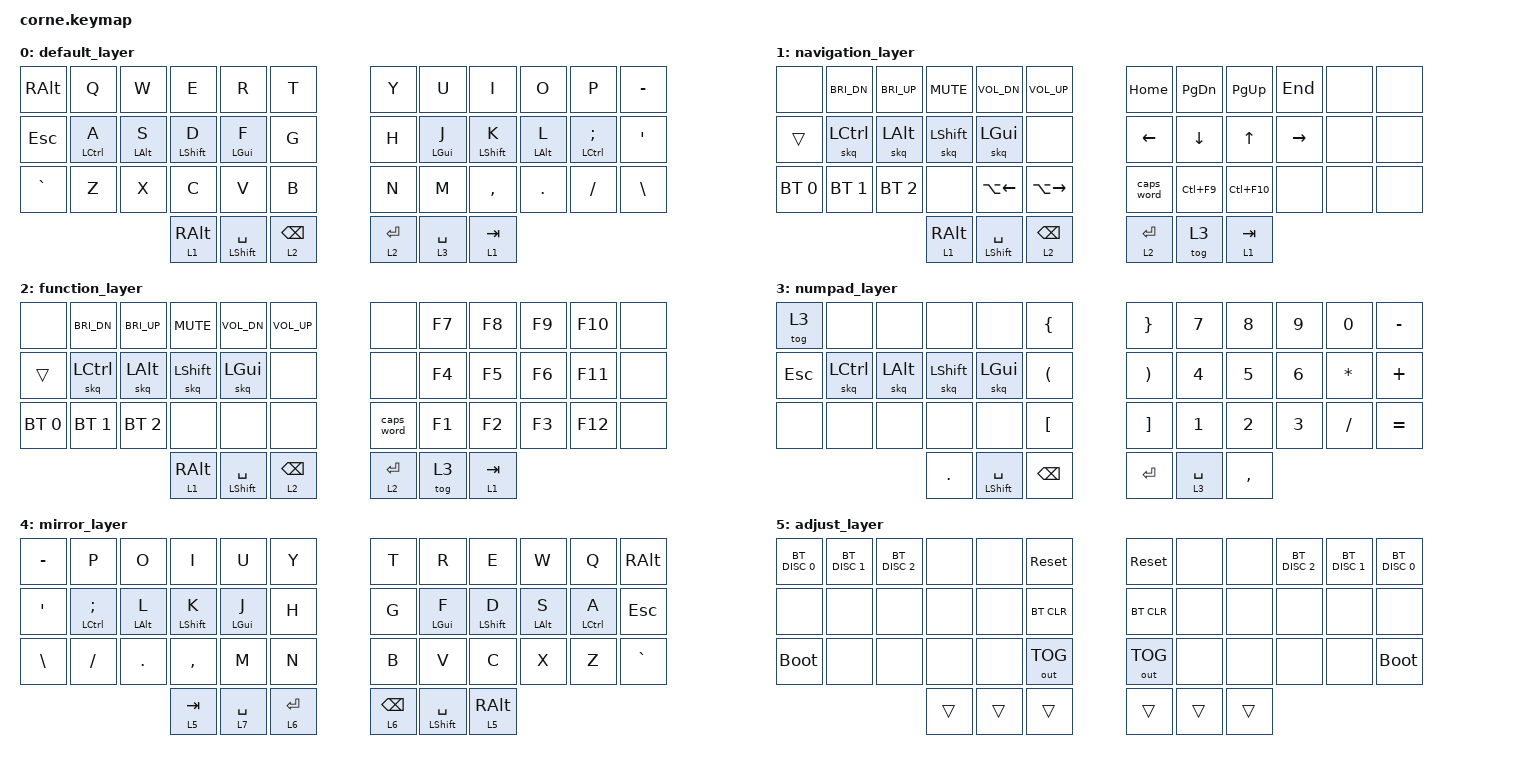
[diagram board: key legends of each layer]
/*
 * Copyright (c) 2020 The ZMK Contributors
 *
 * SPDX-License-Identifier: MIT
 */

#include <behaviors.dtsi>
#include <dt-bindings/zmk/keys.h>
#include <dt-bindings/zmk/bt.h>
#include <dt-bindings/zmk/outputs.h>

#define BBACK LA(LEFT)
#define BFORW LA(RIGHT)
#define WCURR LC(F9)  //WINL LS(LG(TAB))
#define WALL LC(F10)  //WINR LG(TAB)
//#define VDISP LG(F8)

&mt {
	tapping-term-ms = <150>;
};
        

/ {
    	conditional_layers {
        	compatible = "zmk,conditional-layers";
        	tri_layer_1 {
            		if-layers = <1 2>;
            		then-layer = <4>;
        	};
//		tri_layer_2 {
//			if-layers = <5 6>;
//			then-layer = <8>;
//		};
	};


	behaviors {
		lhm: left_homerow_mods {
			compatible = "zmk,behavior-hold-tap";
			#binding-cells = <2>;
			tapping-term-ms = <280>;
			quick-tap-ms = <175>;
			require-prior-idle-ms = <110>;
			flavor = "balanced";
			bindings = <&kp>, <&kp>;
			hold-trigger-key-positions = <6 7 8 9 10 11 18 19 20 21 22 23 30 31 32 33 34 35>;
			hold-trigger-on-release;
		};

		rhm: right_homerow_mods {
			compatible = "zmk,behavior-hold-tap";
			#binding-cells = <2>;
			tapping-term-ms = <280>;
			quick-tap-ms = <175>;
			require-prior-idle-ms = <110>;
			flavor = "balanced";
			bindings = <&kp>, <&kp>;
			hold-trigger-key-positions = <0 1 2 3 4 5 12 13 14 15 16 17 24 25 26 27 28 29>;
			hold-trigger-on-release;
		};

		llt: left_layer_tap {
			compatible = "zmk,behavior-hold-tap";
			#binding-cells = <2>;
			tapping-term-ms = <200>;
			quick-tap-ms = <200>;
			require-prior-idle-ms = <100>;
			flavor = "balanced";
			bindings = <&mo>, <&kp>;
//			hold-trigger-key-positions = <6 7 8 9 10 11 18 23 30 31 32 33 34 35>;
//			hold-trigger-on-release;
		};

		rlt: right_layer_tap {
			compatible = "zmk,behavior-hold-tap";
			#binding-cells = <2>;
			tapping-term-ms = <200>;
			quick-tap-ms = <200>;
			require-prior-idle-ms = <100>;
			flavor = "balanced";
			bindings = <&mo>, <&kp>;
//			hold-trigger-key-positions = <0 1 2 3 4 5 12 17 24 25 26 27 28 29>;
//			hold-trigger-on-release;
		};
		     
		skq: sticky_keys_quick_release {
			compatible = "zmk,behavior-sticky-key";
			#binding-cells = <1>;
			bindings = <&kp>;
			release-after-ms = <2000>;
			quick-release;
			ignore-modifiers;
		};

//		tdtab: tap_dance_tab_mirror {
//			compatible = "zmk,behavior-tap-dance";
//			#binding-cells = <0>;
//			tapping-term-ms = <175>;
//			bindings = <&kp TAB>, <&tog 4>;
//		};
//		
// 		tdmin: tap_dance_minus_mirror {
//			compatible = "zmk,behavior-tap-dance";
//			#binding-cells = <0>;
//			tapping-term-ms = <175>;
//			bindings = <&kp MINUS>, <&tog 4>;
//		};

	};

	keymap {
                compatible = "zmk,keymap";

                default_layer {
// -----------------------------------------------------------------------------------------
// |RALT |  Q  |  W  |  E  |  R  |  T  |   |  Y  |  U  |  I  |  O  |  P  |  -  |
// | ESC | C_A | A_S | S_D | G_F |  G  |   |  H  | G_J | S_K | A_L | C_; |  '  |
// |  `  |  Z  |  X  |  C  |  V  |  B  |   |  N  |  M  |  ,  |  .  |  /  |  \  |
//                   | RALT| SFT | BSPC|   | ENT | SPC | TAB |


                        bindings = <
   &kp RALT  &kp Q        &kp W       &kp E         &kp R         &kp T       &kp Y      &kp U       &kp I        &kp O       &kp P           &kp MINUS
   &kp ESC   &lhm LCTRL A &lhm LALT S &lhm LSHFT D  &lhm LGUI F   &kp G       &kp H      &rhm LGUI J &rhm LSHFT K &rhm LALT L &rhm LCTRL SEMI &kp SQT
   &kp GRAVE &kp Z        &kp X       &kp C         &kp V         &kp B       &kp N      &kp M       &kp COMMA    &kp DOT     &kp FSLH        &kp BSLH
                                      &llt 1 RALT   &mt LSHFT SPC &llt 2 BSPC &rlt 2 RET &rlt 3 SPC  &rlt 1 TAB
                        >;
                };
                navigation_layer {
// -----------------------------------------------------------------------------------------
// |      | BRID | BRIU | MUTE | VOLD | VOLU |   | HOME | PG_DN | PG_UP | END   |  |  |
// | ESC  | CTRL | ALT  | SHFT | GUI  |      |   | LEFT | DOWN  |  UP   | RIGHT |  |  |
// | BT1  | BT2  | BT3  |      | BACK | FORW |   | CWRD | WCURR | WALL  |       |  |  |
//                      | RALT | SHFT | BSPC |   | ENT  | NUM   | TAB   |

                        bindings = <
   &none        &kp C_BRI_DN &kp C_BRI_UP &kp C_MUTE  &kp C_VOL_DN  &kp C_VOL_UP &kp HOME   &kp PG_DN &kp PG_UP &kp END   &none &none
   &trans       &skq LCTRL   &skq LALT    &skq LSHFT  &skq LGUI     &none        &kp LEFT   &kp DOWN  &kp UP    &kp RIGHT &none &none
   &bt BT_SEL 0 &bt BT_SEL 1 &bt BT_SEL 2 &none       &kp BBACK     &kp BFORW    &caps_word &kp WCURR &kp WALL  &none     &none &none
                          	          &llt 1 RALT &mt LSHFT SPC &llt 2 BSPC  &rlt 2 RET &tog 3    &rlt 1 TAB
                        >;
                };
                function_layer {
// -----------------------------------------------------------------------------------------
// |     | BRID | BRIU | MUTE | VOLD | VOLU |   |      | F7  | F8  | F9 | F10 |  |
// | ESC | CTRL | ALT  | SHFT | GUI  |      |   |      | F4  | F5  | F6 | F11 |  |
// | BT1 | BT2  | BT3  |      |      |      |   | CWRD | F1  | F2  | F3 | F12 |  |
//                     | RALT | SHFT | BSPC |   | ENT  | NUM | TAB |

                        bindings = <
   &none        &kp C_BRI_DN &kp C_BRI_UP &kp C_MUTE  &kp C_VOL_DN  &kp C_VOL_UP &none      &kp F7 &kp F8    &kp F9 &kp F10 &none
   &trans       &skq LCTRL   &skq LALT    &skq LSHFT  &skq LGUI     &none        &none      &kp F4 &kp F5    &kp F6 &kp F11 &none
   &bt BT_SEL 0 &bt BT_SEL 1 &bt BT_SEL 2 &none       &none         &none        &caps_word &kp F1 &kp F2    &kp F3 &kp F12 &none
                    	                  &llt 1 RALT &mt LSHFT SPC &llt 2 BSPC  &rlt 2 RET &tog 3 &rlt 1 TAB
                        >;
                };
		numpad_layer {
// -----------------------------------------------------------------------------------------
//  | NUM |     |     |     |      | LBRC|   | RBRC|  7  |  8  |  9  | 0 | - |
//  | ESC | CTRL| ALT | SHFT| GUI  | LPAR|   | RPAR|  4  |  5  |  6  | * | + |
//  |     |     |     |     |      | LBKT|   | RBKT|  1  |  2  |  3  | / | = |
//                    |  .  | SHFT | BSPC|   | ENT |     |  ,  |

			bindings = <
    &tog 3  &none      &none     &none      &none         &kp LBRC &kp RBRC &kp N7     &kp N8   &kp N9 &kp N0       &kp MINUS
    &kp ESC &skq LCTRL &skq LALT &skq LSHFT &skq LGUI     &kp LPAR &kp RPAR &kp N4     &kp N5   &kp N6 &kp ASTERISK &kp PLUS
    &none   &none      &none     &none      &none         &kp LBKT &kp RBKT &kp N1     &kp N2   &kp N3 &kp FSLH     &kp EQUAL
                                 &kp DOT    &mt LSHFT SPC &kp BSPC &kp RET  &rlt 3 SPC &kp COMMA    
			>;
		};
		mirror_layer {
// -----------------------------------------------------------------------------------------
//  | - | P | O | I   | U   | Y   |   | T    | R   | E    | W | Q | TAB |
//  | ' | ; | L | K   | J   | H   |   | G    | F   | D    | S | A | ESC |
//  | \ | / | . | ,   | M   | N   |   | B    | V   | C    | X | Z |  `  |
//              | TAB | SPC | ENT |   | BSPC | SFT | RALT |  

			bindings = <
    &kp MINUS &kp P           &kp O       &kp I        &kp U       &kp Y      &kp T       &kp R         &kp E        &kp W       &kp Q        &kp RALT
    &kp SQT   &lhm LCTRL SEMI &lhm LALT L &lhm LSHFT K &lhm LGUI J &kp H      &kp G       &rhm LGUI F   &rhm LSHFT D &rhm LALT S &rhm LCTRL A &kp ESC
    &kp BSLH  &kp FSLH        &kp DOT     &kp COMMA    &kp M       &kp N      &kp B       &kp V         &kp C        &kp X       &kp Z        &kp GRAVE
                                          &llt 5 TAB   &llt 7 SPC  &llt 6 RET &rlt 6 BSPC &mt LSHFT SPC &rlt 5 RALT
			>;
		};
//		navigation_mirror_layer {
//// -----------------------------------------------------------------------------------------
////  | BASE |      | PG_UP | UP   | PG_DN |      |   | VOLU | VOLD | MUTE | BRIU | BRID | BASE |
////  |      | HOME | LEFT  | DOWN | RIGHT | END  |   |      | GUI  | SHFT | ALT  | CTRL | ESC  |
////  |      |      |       | WALL | WCURR | CAPS |   | FORW | BACK |      | BT3  | BT2  | BT1  |
////                        | TAB  | NUM   | ENT  |   | BSPC | SHFT | RALT |
//
//			bindings = <
//    &tog 4 &none    &kp PG_UP &kp UP     &kp PG_DN &none      &kp C_VOL_UP &kp C_VOL_DN  &kp C_MUTE  &kp C_BRI_UP &kp C_BRI_DN &tog 4
//    &none  &kp HOME &kp LEFT  &kp DOWN   &kp RIGHT &kp END    &none        &skq LGUI     &skq LSHFT  &skq LALT    &skq LCTRL   &trans
//    &none  &none    &none     &kp WALL   &kp WCURR &caps_word &kp BFORW    &kp BBACK     &none       &bt BT_SEL 2 &bt BT_SEL 1 &bt BT_SEL 0
//                              &llt 5 TAB &tog 7    &lt 6 RET  &rlt 6 BSPC  &mt LSHFT SPC &rlt 5 RALT
//			>;
//		};
//		function_mirror_layer { // -----------------------------------------------------------------------------------------
////  |  | F10 | F9 | F8  | F7  |      |   | VOLU | VOLD | MUTE | BRIU | BRID |     |
////  |  | F11 | F6 | F5  | F4  |      |   |      | GUI  | SHFT | ALT  | CTRL | ESC |
////  |  | F12 | F3 | F2  | F1  | CAPS |   |      |      |      | BT3  | BT2  | BT1 |
////                | TAB | NUM | ENT  |   | BSPC | SHFT | RALT |
//
//			bindings = <
//    &none &kp F10 &kp F9 &kp F8     &kp F7 &none      &kp C_VOL_UP &kp C_VOL_DN  &kp C_MUTE  &kp C_BRI_UP &kp C_BRI_DN &none
//    &none &kp F11 &kp F6 &kp F5     &kp F4 &none      &none        &skq LGUI     &skq LSHFT  &skq LALT    &skq LCTRL   &trans
//    &none &kp F12 &kp F3 &kp F2     &kp F1 &caps_word &none        &none         &none       &bt BT_SEL 2 &bt BT_SEL 1 &bt BT_SEL 0
//                         &llt 5 TAB &tog 7 &llt 6 RET &rlt 6 BSPC  &mt LSHFT SPC &rlt 5 RALT
//			>;
//		};
//		numpad_mirror_layer {
//// -----------------------------------------------------------------------------------------
////  | - | 0 | 9 | 8 | 7   | RBRC |   | LBRC |      |      |     |      | NUM |
////  | + | * | 6 | 5 | 4   | RPAR |   | LPAR | GUI  | SHFT | ALT | CTRL | ESC |
////  | = | / | 3 | 2 | 1   | RBKT |   | LBKT |      |      |     |      |     |
////              | , | SPC | ENT  |   | BSPC | SHFT |  .   |
//
//			bindings = <
//    &kp MINUS &kp N0       &kp N9 &kp N8    &kp N7     &kp RBRC &kp LBRC &none         &none      &none     &none      &tog 7
//    &kp PLUS  &kp ASTERISK &kp N6 &kp N5    &kp N4     &kp RPAR &kp LPAR &skq LGUI     &skq LSHFT &skq LALT &skq LCTRL &kp ESC
//    &kp EQUAL &kp FSLH     &kp N3 &kp N2    &kp N1     &kp RBKT &kp LBKT &none         &none      &none     &none      &none 
//                                  &kp COMMA &llt 7 SPC &kp RET  &kp BSPC &mt LSHFT SPC &kp DOT   
//			>;
//		};
		adjust_layer {
// -----------------------------------------------------------------------------------------
//  | BT D0 | BT D1 | BT D2 |  |  | RESET |  | RESET |  |  | BT D2 | BT D1 | BT D0 |
//  | S_OFF |       |       |  |  | BTCLR |  | BTCLR |  |  |       |       | S_OFF |
//  |       |       |       |  |  | BTOUT |  | BTOUT |  |  |       |       |       |
//                          |  |  |       |  |       |  |  |

			bindings = <
    &bt BT_DISC 0 &bt BT_DISC 1 &bt BT_DISC 2 &none  &none  &sys_reset   &sys_reset   &none  &none  &bt BT_DISC 2 &bt BT_DISC 1 &bt BT_DISC 0
    &none         &none         &none         &none  &none  &bt BT_CLR   &bt BT_CLR   &none  &none  &none         &none         &none
    &bootloader   &none         &none         &none  &none  &out OUT_TOG &out OUT_TOG &none  &none  &none         &none         &bootloader 
                                              &trans &trans &trans       &trans       &trans &trans
			>;
		};
        };
};
